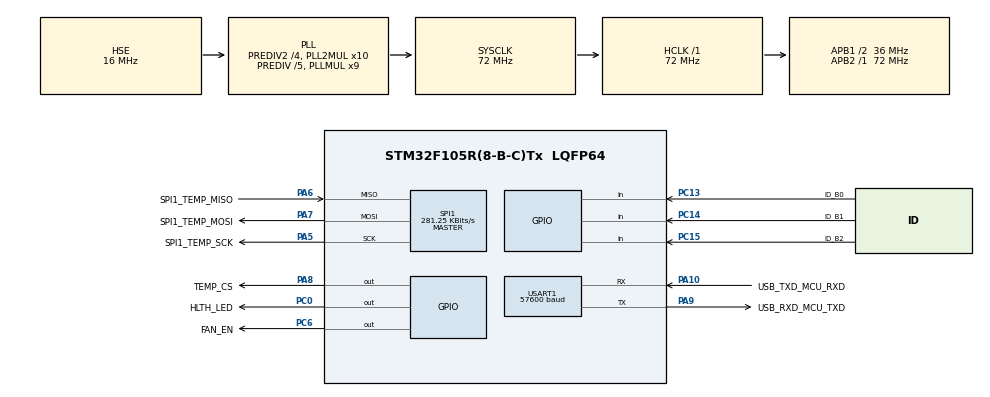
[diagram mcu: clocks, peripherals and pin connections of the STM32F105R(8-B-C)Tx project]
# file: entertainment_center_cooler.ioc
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Mcu.Family=STM32F1
PA6.Mode=Full_Duplex_Master
SPI1.VirtualType=VM_MASTER
RCC.Prediv2=RCC_HSE_PREDIV2_DIV4
USART1.BaudRate=57600
PC0.GPIO_Label=HLTH_LED
PC6.GPIO_Label=FAN_EN
PA6.GPIO_Label=SPI1_TEMP_MISO
NVIC.TIM1_UP_IRQn=true\:0\:0\:false\:false\:true\:true\:true
PC15-OSC32_OUT.GPIO_Label=ID_B2
RCC.SYSCLKSource=RCC_SYSCLKSOURCE_PLLCLK
ProjectManager.StackSize=0x400
PD1-OSC_OUT.Signal=RCC_OSC_OUT
TIM1.Prescaler=71
SPI1.CLKPolarity=SPI_POLARITY_LOW
SPI1.Direction=SPI_DIRECTION_2LINES
RCC.HCLKFreq_Value=72000000
RCC.APB2TimFreq_Value=72000000
SPI1.CalculateBaudRate=281.25 KBits/s
RCC.AHBFreq_Value=72000000
RCC.HSE_VALUE=16000000
PB3.Mode=Trace_Asynchronous_SW
RCC.PLLMUL=RCC_PLL_MUL9
RCC.PLL2Mul=RCC_PLL2_MUL10
PA14.Mode=Trace_Asynchronous_SW
NVIC.TIM2_IRQn=true\:0\:0\:false\:false\:true\:true\:true
PA10.GPIO_Label=USB_TXD_MCU_RXD
PA8.Signal=GPIO_Output
VP_TIM1_VS_ClockSourceINT.Mode=Internal
RCC.Prediv1Source=RCC_PREDIV1_SOURCE_PLL2
Mcu.Package=LQFP64
TIM2.Prescaler=71
PA6.Signal=SPI1_MISO
PA10.Signal=USART1_RX
RCC.APB1TimFreq_Value=72000000
PC14-OSC32_IN.GPIO_Label=ID_B1
TIM1.Period=9999
NVIC.USART1_IRQn=true\:0\:0\:false\:false\:true\:true\:true
SPI1.BaudRatePrescaler=SPI_BAUDRATEPRESCALER_256
PA8.GPIO_Speed=GPIO_SPEED_FREQ_LOW
PC0.PinState=GPIO_PIN_SET
PA8.PinState=GPIO_PIN_SET
PA5.Mode=Full_Duplex_Master
RCC.PLLSourceVirtual=RCC_PLLSOURCE_HSE
PA7.Mode=Full_Duplex_Master
PD1-OSC_OUT.Mode=HSE-External-Oscillator
PA10.Mode=Asynchronous
PA9.GPIO_Label=USB_RXD_MCU_TXD
PC6.Signal=GPIO_Output
PC13-TAMPER-RTC.Signal=GPIO_Input
SPI1.CLKPhase=SPI_PHASE_1EDGE
PD0-OSC_IN.Signal=RCC_OSC_IN
PC0.Signal=GPIO_Output
RCC.APB1CLKDivider=RCC_HCLK_DIV2
PC14-OSC32_IN.Signal=GPIO_Input
PA13.Signal=SYS_JTMS-SWDIO
TIM1.AutoReloadPreload=TIM_AUTORELOAD_PRELOAD_ENABLE
PA9.Mode=Asynchronous
PA8.GPIO_Label=TEMP_CS
ProjectManager.TargetToolchain=STM32CubeIDE
PA9.Signal=USART1_TX
RCC.USBFreq_Value=48000000
PC15-OSC32_OUT.Signal=GPIO_Input
PD0-OSC_IN.Mode=HSE-External-Oscillator
PA5.Signal=SPI1_SCK
board=custom
PC13-TAMPER-RTC.GPIO_Label=ID_B0
RCC.APB2Freq_Value=72000000
VP_TIM2_VS_ClockSourceINT.Mode=Internal
SPI1.Mode=SPI_MODE_MASTER
TIM2.Period=0xffff
PA13.Mode=Trace_Asynchronous_SW
Mcu.Name=STM32F105R(8-B-C)Tx
PB3.Signal=SYS_TRACESWO
RCC.SYSCLKFreq_VALUE=72000000
PA7.GPIO_Label=SPI1_TEMP_MOSI
PA5.GPIO_Label=SPI1_TEMP_SCK
RCC.HSEDivPLL=RCC_HSE_PREDIV_DIV5
USART1.VirtualMode=VM_ASYNC
PA14.Signal=SYS_JTCK-SWCLK
ProjectManager.HeapSize=0x200
NVIC.PriorityGroup=NVIC_PRIORITYGROUP_4
TIM2.AutoReloadPreload=TIM_AUTORELOAD_PRELOAD_ENABLE
RCC.APB1Freq_Value=36000000
PA7.Signal=SPI1_MOSI

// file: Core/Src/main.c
/* USER CODE BEGIN Header */
/**
  ******************************************************************************
  * @file           : main.c
  * @brief          : Main program body
  ******************************************************************************
  * @attention
  *
  * <h2><center>&copy; Copyright (c) 2025 STMicroelectronics.
  * All rights reserved.</center></h2>
  *
  * This software component is licensed by ST under BSD 3-Clause license,
  * the "License"; You may not use this file except in compliance with the
  * License. You may obtain a copy of the License at:
  *                        opensource.org/licenses/BSD-3-Clause
  *
  ******************************************************************************
  */
/* USER CODE END Header */
#include "main.h"

/* USER CODE BEGIN PTD */
// struct timing       time;
struct UARTMembers  uart;
struct timing       time;
struct TEMPMembers  temp;

/* USER CODE END PTD */

SPI_HandleTypeDef hspi1;

TIM_HandleTypeDef htim1;
TIM_HandleTypeDef htim2;

UART_HandleTypeDef huart1;

void SystemClock_Config(void);
static void MX_GPIO_Init(void);
static void MX_TIM1_Init(void);
static void MX_SPI1_Init(void);
static void MX_USART1_UART_Init(void);
static void MX_TIM2_Init(void);

int main(void)
{

  /* MCU Configuration--------------------------------------------------------*/

  /* Reset of all peripherals, Initializes the Flash interface and the Systick. */
  HAL_Init();

  /* USER CODE BEGIN Init */
  init_timer ();

  /* USER CODE END Init */

  /* Configure the system clock */
  SystemClock_Config();

  /* USER CODE BEGIN SysInit */
  uart.errorflag      = false;
  uart.validmsg       = false;
  uart.inmenu         = false;                    // Will not start out in console menu
  uart.msg_state      = STATESTART;
  uart.len_verify     = 0;                        // Initialize length verify counter to 0
  uart.producer_index = 0;                        // Initialize consumer index
  uart.consumer_index = 0;                        // Initialize producer index

  temp.fan_transition = false;
  temp.fan_on         = false;
  temp.fan_transition_blink_count = 0;

  /* USER CODE END SysInit */

  /* Initialize all configured peripherals */
  MX_GPIO_Init();
  MX_TIM1_Init();
  MX_SPI1_Init();
  MX_USART1_UART_Init();
  MX_TIM2_Init();
  /* USER CODE BEGIN 2 */

  HAL_TIM_Base_Start_IT(&htim1);     // Main tick counter

  __HAL_TIM_SET_AUTORELOAD(&htim2, 0xFFFFFFFF);  //Issue with the GUI -- this is a 32 bit timer!
  HAL_TIM_Base_Start(&htim2);     // Used for us counter

  HAL_GPIO_WritePin(HLTH_LED_GPIO_Port, HLTH_LED_Pin, GPIO_PIN_SET);

  // Must use Base Start IT if using interrupts
  HAL_UART_Receive_IT(&huart1, &uart.rxchar, 1);  // UART to console interface

  print_string("RESET",LF);

  HAL_GPIO_WritePin(FAN_EN_GPIO_Port, FAN_EN_Pin, GPIO_PIN_RESET);  //Disable the fan
  /* USER CODE END 2 */

  /* Infinite loop */
  /* USER CODE BEGIN WHILE */
  while (1)
  {

	  if(time.flag_10ms_tick)
    {
		  time.flag_10ms_tick = false;

      /** Enable fan if temp is to high */
      if(temp.flt_temp_value > TEMP_TRIP_F_RISING &&
          temp.fan_on == false)
      {
       HAL_GPIO_WritePin(FAN_EN_GPIO_Port, FAN_EN_Pin, GPIO_PIN_SET);
       temp.fan_transition = true;
       temp.fan_on = true;
      }

      /** Disable the fan when the temp is cool enough */
      else if(temp.flt_temp_value < TEMP_TRIP_F_FALLING &&
                temp.fan_on == true)
      {
        HAL_GPIO_WritePin(FAN_EN_GPIO_Port, FAN_EN_Pin, GPIO_PIN_RESET);
        temp.fan_transition = true;
        temp.fan_on = false;
      }

	  }

	  if(time.flag_100ms_tick)
    {
      time.flag_100ms_tick = false;

      if(temp.fan_transition == true &&
          temp.fan_transition_blink_count < MAX_TRANSITION_BLINKS)
      {
        temp.fan_transition_blink_count++;
        HAL_GPIO_TogglePin(HLTH_LED_GPIO_Port, HLTH_LED_Pin);
        if(temp.fan_transition_blink_count >= MAX_TRANSITION_BLINKS &&
            temp.fan_transition == true)
        {
          temp.fan_transition = false;
          temp.fan_transition_blink_count = 0;
          HAL_GPIO_WritePin(HLTH_LED_GPIO_Port, HLTH_LED_Pin, GPIO_PIN_SET);
        }
      }
      get_temperature_reading();
      if(uart.rxchar == 'z')
      {
        uart.rxchar = '\0';
        console_menu();
      }
	  }

    if(time.flag_500ms_tick) {
      time.flag_500ms_tick = false;

    }

    /* USER CODE END WHILE */

  }
}

void SystemClock_Config(void)
{
  RCC_OscInitTypeDef RCC_OscInitStruct = {0};
  RCC_ClkInitTypeDef RCC_ClkInitStruct = {0};

  /** Initializes the RCC Oscillators according to the specified parameters
  * in the RCC_OscInitTypeDef structure.
  */
  RCC_OscInitStruct.OscillatorType = RCC_OSCILLATORTYPE_HSE;
  RCC_OscInitStruct.HSEState = RCC_HSE_ON;
  RCC_OscInitStruct.HSEPredivValue = RCC_HSE_PREDIV_DIV5;
  RCC_OscInitStruct.HSIState = RCC_HSI_ON;
  RCC_OscInitStruct.Prediv1Source = RCC_PREDIV1_SOURCE_PLL2;
  RCC_OscInitStruct.PLL.PLLState = RCC_PLL_ON;
  RCC_OscInitStruct.PLL.PLLSource = RCC_PLLSOURCE_HSE;
  RCC_OscInitStruct.PLL.PLLMUL = RCC_PLL_MUL9;
  RCC_OscInitStruct.PLL2.PLL2State = RCC_PLL2_ON;
  RCC_OscInitStruct.PLL2.PLL2MUL = RCC_PLL2_MUL10;
  RCC_OscInitStruct.PLL2.HSEPrediv2Value = RCC_HSE_PREDIV2_DIV4;
  if (HAL_RCC_OscConfig(&RCC_OscInitStruct) != HAL_OK)
  {
    Error_Handler();
  }
  /** Initializes the CPU, AHB and APB buses clocks
  */
  RCC_ClkInitStruct.ClockType = RCC_CLOCKTYPE_HCLK|RCC_CLOCKTYPE_SYSCLK
                              |RCC_CLOCKTYPE_PCLK1|RCC_CLOCKTYPE_PCLK2;
  RCC_ClkInitStruct.SYSCLKSource = RCC_SYSCLKSOURCE_PLLCLK;
  RCC_ClkInitStruct.AHBCLKDivider = RCC_SYSCLK_DIV1;
  RCC_ClkInitStruct.APB1CLKDivider = RCC_HCLK_DIV2;
  RCC_ClkInitStruct.APB2CLKDivider = RCC_HCLK_DIV1;

  if (HAL_RCC_ClockConfig(&RCC_ClkInitStruct, FLASH_LATENCY_2) != HAL_OK)
  {
    Error_Handler();
  }
  /** Configure the Systick interrupt time
  */
  __HAL_RCC_PLLI2S_ENABLE();
}

static void MX_SPI1_Init(void)
{

  /* SPI1 parameter configuration*/
  hspi1.Instance = SPI1;
  hspi1.Init.Mode = SPI_MODE_MASTER;
  hspi1.Init.Direction = SPI_DIRECTION_2LINES;
  hspi1.Init.DataSize = SPI_DATASIZE_8BIT;
  hspi1.Init.CLKPolarity = SPI_POLARITY_LOW;
  hspi1.Init.CLKPhase = SPI_PHASE_1EDGE;
  hspi1.Init.NSS = SPI_NSS_SOFT;
  hspi1.Init.BaudRatePrescaler = SPI_BAUDRATEPRESCALER_256;
  hspi1.Init.FirstBit = SPI_FIRSTBIT_MSB;
  hspi1.Init.TIMode = SPI_TIMODE_DISABLE;
  hspi1.Init.CRCCalculation = SPI_CRCCALCULATION_DISABLE;
  hspi1.Init.CRCPolynomial = 10;
  if (HAL_SPI_Init(&hspi1) != HAL_OK)
  {
    Error_Handler();
  }

}

static void MX_TIM1_Init(void)
{

  TIM_ClockConfigTypeDef sClockSourceConfig = {0};
  TIM_MasterConfigTypeDef sMasterConfig = {0};

  htim1.Instance = TIM1;
  htim1.Init.Prescaler = 71;
  htim1.Init.CounterMode = TIM_COUNTERMODE_UP;
  htim1.Init.Period = 9999;
  htim1.Init.ClockDivision = TIM_CLOCKDIVISION_DIV1;
  htim1.Init.RepetitionCounter = 0;
  htim1.Init.AutoReloadPreload = TIM_AUTORELOAD_PRELOAD_ENABLE;
  if (HAL_TIM_Base_Init(&htim1) != HAL_OK)
  {
    Error_Handler();
  }
  sClockSourceConfig.ClockSource = TIM_CLOCKSOURCE_INTERNAL;
  if (HAL_TIM_ConfigClockSource(&htim1, &sClockSourceConfig) != HAL_OK)
  {
    Error_Handler();
  }
  sMasterConfig.MasterOutputTrigger = TIM_TRGO_RESET;
  sMasterConfig.MasterSlaveMode = TIM_MASTERSLAVEMODE_DISABLE;
  if (HAL_TIMEx_MasterConfigSynchronization(&htim1, &sMasterConfig) != HAL_OK)
  {
    Error_Handler();
  }

}

static void MX_TIM2_Init(void)
{

  TIM_ClockConfigTypeDef sClockSourceConfig = {0};
  TIM_MasterConfigTypeDef sMasterConfig = {0};

  htim2.Instance = TIM2;
  htim2.Init.Prescaler = 71;
  htim2.Init.CounterMode = TIM_COUNTERMODE_UP;
  htim2.Init.Period = 0xffff;
  htim2.Init.ClockDivision = TIM_CLOCKDIVISION_DIV1;
  htim2.Init.AutoReloadPreload = TIM_AUTORELOAD_PRELOAD_ENABLE;
  if (HAL_TIM_Base_Init(&htim2) != HAL_OK)
  {
    Error_Handler();
  }
  sClockSourceConfig.ClockSource = TIM_CLOCKSOURCE_INTERNAL;
  if (HAL_TIM_ConfigClockSource(&htim2, &sClockSourceConfig) != HAL_OK)
  {
    Error_Handler();
  }
  sMasterConfig.MasterOutputTrigger = TIM_TRGO_RESET;
  sMasterConfig.MasterSlaveMode = TIM_MASTERSLAVEMODE_DISABLE;
  if (HAL_TIMEx_MasterConfigSynchronization(&htim2, &sMasterConfig) != HAL_OK)
  {
    Error_Handler();
  }

}

static void MX_USART1_UART_Init(void)
{

  huart1.Instance = USART1;
  huart1.Init.BaudRate = 57600;
  huart1.Init.WordLength = UART_WORDLENGTH_8B;
  huart1.Init.StopBits = UART_STOPBITS_1;
  huart1.Init.Parity = UART_PARITY_NONE;
  huart1.Init.Mode = UART_MODE_TX_RX;
  huart1.Init.HwFlowCtl = UART_HWCONTROL_NONE;
  huart1.Init.OverSampling = UART_OVERSAMPLING_16;
  if (HAL_UART_Init(&huart1) != HAL_OK)
  {
    Error_Handler();
  }

}

static void MX_GPIO_Init(void)
{
  GPIO_InitTypeDef GPIO_InitStruct = {0};

  /* GPIO Ports Clock Enable */
  __HAL_RCC_GPIOC_CLK_ENABLE();
  __HAL_RCC_GPIOD_CLK_ENABLE();
  __HAL_RCC_GPIOA_CLK_ENABLE();
  __HAL_RCC_GPIOB_CLK_ENABLE();

  /*Configure GPIO pin Output Level */
  HAL_GPIO_WritePin(HLTH_LED_GPIO_Port, HLTH_LED_Pin, GPIO_PIN_SET);

  /*Configure GPIO pin Output Level */
  HAL_GPIO_WritePin(FAN_EN_GPIO_Port, FAN_EN_Pin, GPIO_PIN_RESET);

  /*Configure GPIO pin Output Level */
  HAL_GPIO_WritePin(TEMP_CS_GPIO_Port, TEMP_CS_Pin, GPIO_PIN_SET);

  /*Configure GPIO pins : ID_B0_Pin ID_B1_Pin ID_B2_Pin */
  GPIO_InitStruct.Pin = ID_B0_Pin|ID_B1_Pin|ID_B2_Pin;
  GPIO_InitStruct.Mode = GPIO_MODE_INPUT;
  GPIO_InitStruct.Pull = GPIO_NOPULL;
  HAL_GPIO_Init(GPIOC, &GPIO_InitStruct);

  /*Configure GPIO pins : HLTH_LED_Pin FAN_EN_Pin */
  GPIO_InitStruct.Pin = HLTH_LED_Pin|FAN_EN_Pin;
  GPIO_InitStruct.Mode = GPIO_MODE_OUTPUT_PP;
  GPIO_InitStruct.Pull = GPIO_NOPULL;
  GPIO_InitStruct.Speed = GPIO_SPEED_FREQ_LOW;
  HAL_GPIO_Init(GPIOC, &GPIO_InitStruct);

  /*Configure GPIO pin : TEMP_CS_Pin */
  GPIO_InitStruct.Pin = TEMP_CS_Pin;
  GPIO_InitStruct.Mode = GPIO_MODE_OUTPUT_PP;
  GPIO_InitStruct.Pull = GPIO_NOPULL;
  GPIO_InitStruct.Speed = GPIO_SPEED_FREQ_LOW;
  HAL_GPIO_Init(TEMP_CS_GPIO_Port, &GPIO_InitStruct);

}

/* USER CODE BEGIN 4 */
/************************************************
 *  @brief Handle timer interrupts
 ***********************************************/
void HAL_TIM_PeriodElapsedCallback(TIM_HandleTypeDef *htim)
{
  if(htim == &htim1)
  {
    time.flag_10ms_tick = true;

    if(time.ticks10ms == 9)
    {
        time.ticks10ms = 0;
        time.flag_100ms_tick = true;

        if(time.ticks100ms == 4)
        {
          time.ticks100ms = 0;
          time.flag_500ms_tick = true;

          if(time.ticks500ms == 119)										// One minute worth of half seconds
          {
            time.ticks500ms = 0;
          }
          else
          {
            time.ticks500ms += 1;
          }
        }

        else
        {
          time.ticks100ms += 1;
        }
    }

    else
    {
      time.ticks10ms += 1;
    }

  }
}

/************************************************
 *  @brief Handle UART RX interrupts
 ***********************************************/
void HAL_UART_RxCpltCallback(UART_HandleTypeDef *huart)
{

  /**
   * Console UART Interface
   *
   */
  if(huart->Instance == USART1)
  {
    uart.rxbuf[uart.producer_index] = uart.rxchar;          // Load this byte into rx buffer
    uart.byte_counter++;                                                   //Increase data counter
    (uart.producer_index >= MAX_RX_BUF_INDEX) ? (uart.producer_index = 0):(uart.producer_index++);
		HAL_UART_Receive_IT(&huart1, &uart.rxchar, 1);
	}
}

/* USER CODE END 4 */

void Error_Handler(void)
{
  __disable_irq();
  while (1)
  {
  }
}

/************************ (C) COPYRIGHT STMicroelectronics *****END OF FILE****/
